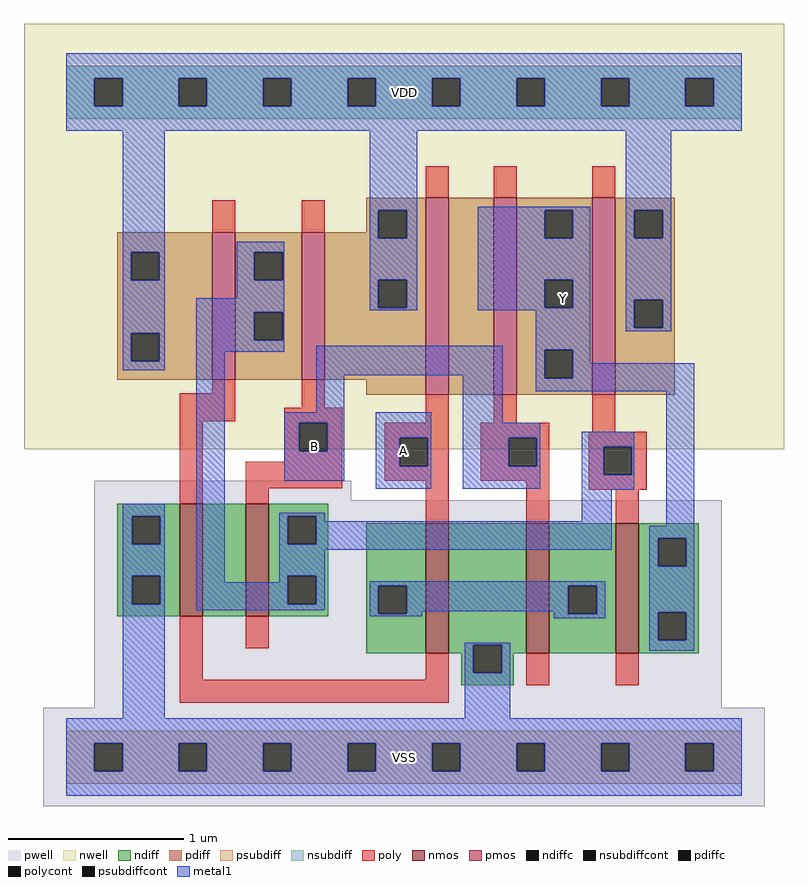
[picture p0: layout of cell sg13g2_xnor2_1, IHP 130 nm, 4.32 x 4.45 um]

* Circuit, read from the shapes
.subckt sg13g2_xnor2_1 Y B VDD A VSS
XM1 n1 A VSS VSS sg13_lv_nmos w=0.64u l=0.13u
XM2 n2 B n1 VSS sg13_lv_nmos w=0.64u l=0.13u
XM3 VSS A n3 VSS sg13_lv_nmos w=0.74u l=0.13u
XM4 n3 B VSS VSS sg13_lv_nmos w=0.74u l=0.13u
XM5 Y n2 n3 VSS sg13_lv_nmos w=0.74u l=0.13u
XM6 n2 A VDD VDD sg13_lv_pmos w=0.84u l=0.13u
XM7 VDD B n2 VDD sg13_lv_pmos w=0.84u l=0.13u
XM8 n4 A VDD VDD sg13_lv_pmos w=1.12u l=0.13u
XM9 Y B n4 VDD sg13_lv_pmos w=1.12u l=0.13u
XM10 VDD n2 Y VDD sg13_lv_pmos w=1.12u l=0.13u
.ends

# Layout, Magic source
magic
tech ihp-sg13g2
magscale 1 2
<< nwell >>
rect -48 350 816 834
<< pwell >>
rect 32 292 324 314
rect 32 56 745 292
rect -26 -56 794 56
<< nmos >>
rect 129 160 155 288
rect 204 160 230 288
rect 409 118 435 266
rect 523 118 549 266
rect 625 118 651 266
<< pmos >>
rect 166 429 192 597
rect 268 429 294 597
rect 409 412 435 636
rect 486 412 512 636
rect 598 412 624 636
<< ndiff >>
rect 58 274 129 288
rect 58 242 75 274
rect 107 242 129 274
rect 58 206 129 242
rect 58 174 75 206
rect 107 174 129 206
rect 58 160 129 174
rect 155 160 204 288
rect 230 274 298 288
rect 230 242 252 274
rect 284 242 298 274
rect 230 206 298 242
rect 230 174 252 206
rect 284 174 298 206
rect 230 160 298 174
rect 341 195 409 266
rect 341 163 355 195
rect 387 163 409 195
rect 341 118 409 163
rect 435 128 523 266
rect 435 118 463 128
rect 449 96 463 118
rect 495 118 523 128
rect 549 195 625 266
rect 549 163 571 195
rect 603 163 625 195
rect 549 118 625 163
rect 651 249 719 266
rect 651 217 673 249
rect 705 217 719 249
rect 651 165 719 217
rect 651 133 673 165
rect 705 133 719 165
rect 651 118 719 133
rect 495 96 509 118
rect 449 82 509 96
<< pdiff >>
rect 341 622 409 636
rect 341 597 355 622
rect 58 574 166 597
rect 58 542 74 574
rect 106 542 166 574
rect 58 482 166 542
rect 58 450 74 482
rect 106 450 166 482
rect 58 429 166 450
rect 192 574 268 597
rect 192 542 214 574
rect 246 542 268 574
rect 192 506 268 542
rect 192 474 214 506
rect 246 474 268 506
rect 192 429 268 474
rect 294 590 355 597
rect 387 590 409 622
rect 294 543 409 590
rect 294 511 355 543
rect 387 511 409 543
rect 294 429 409 511
rect 341 412 409 429
rect 435 412 486 636
rect 512 622 598 636
rect 512 590 544 622
rect 576 590 598 622
rect 512 543 598 590
rect 512 511 544 543
rect 576 511 598 543
rect 512 463 598 511
rect 512 431 544 463
rect 576 431 598 463
rect 512 412 598 431
rect 624 622 692 636
rect 624 590 646 622
rect 678 590 692 622
rect 624 520 692 590
rect 624 488 646 520
rect 678 488 692 520
rect 624 412 692 488
<< ndiffc >>
rect 75 242 107 274
rect 75 174 107 206
rect 252 242 284 274
rect 252 174 284 206
rect 355 163 387 195
rect 463 96 495 128
rect 571 163 603 195
rect 673 217 705 249
rect 673 133 705 165
<< pdiffc >>
rect 74 542 106 574
rect 74 450 106 482
rect 214 542 246 574
rect 214 474 246 506
rect 355 590 387 622
rect 355 511 387 543
rect 544 590 576 622
rect 544 511 576 543
rect 544 431 576 463
rect 646 590 678 622
rect 646 488 678 520
<< psubdiff >>
rect 0 16 768 30
rect 0 -16 32 16
rect 64 -16 128 16
rect 160 -16 224 16
rect 256 -16 320 16
rect 352 -16 416 16
rect 448 -16 512 16
rect 544 -16 608 16
rect 640 -16 704 16
rect 736 -16 768 16
rect 0 -30 768 -16
<< nsubdiff >>
rect 0 772 768 786
rect 0 740 32 772
rect 64 740 128 772
rect 160 740 224 772
rect 256 740 320 772
rect 352 740 416 772
rect 448 740 512 772
rect 544 740 608 772
rect 640 740 704 772
rect 736 740 768 772
rect 0 726 768 740
<< psubdiffcont >>
rect 32 -16 64 16
rect 128 -16 160 16
rect 224 -16 256 16
rect 320 -16 352 16
rect 416 -16 448 16
rect 512 -16 544 16
rect 608 -16 640 16
rect 704 -16 736 16
<< nsubdiffcont >>
rect 32 740 64 772
rect 128 740 160 772
rect 224 740 256 772
rect 320 740 352 772
rect 416 740 448 772
rect 512 740 544 772
rect 608 740 640 772
rect 704 740 736 772
<< poly >>
rect 409 636 435 672
rect 486 636 512 672
rect 598 636 624 672
rect 166 597 192 633
rect 268 597 294 633
rect 166 414 192 429
rect 129 382 192 414
rect 268 397 294 429
rect 129 288 155 382
rect 248 380 314 397
rect 409 380 435 412
rect 486 380 512 412
rect 248 348 265 380
rect 297 348 314 380
rect 248 336 314 348
rect 204 306 314 336
rect 362 363 435 380
rect 362 331 379 363
rect 411 331 435 363
rect 362 314 435 331
rect 471 363 549 380
rect 598 370 624 412
rect 471 331 503 363
rect 535 331 549 363
rect 471 314 549 331
rect 204 288 230 306
rect 409 266 435 314
rect 523 266 549 314
rect 594 353 660 370
rect 594 321 611 353
rect 643 321 660 353
rect 594 304 660 321
rect 625 266 651 304
rect 129 88 155 160
rect 204 124 230 160
rect 409 88 435 118
rect 129 62 435 88
rect 523 82 549 118
rect 625 82 651 118
<< polycont >>
rect 265 348 297 380
rect 379 331 411 363
rect 503 331 535 363
rect 611 321 643 353
<< metal1 >>
rect 0 772 768 800
rect 0 740 32 772
rect 64 740 128 772
rect 160 740 224 772
rect 256 740 320 772
rect 352 740 416 772
rect 448 740 512 772
rect 544 740 608 772
rect 640 740 704 772
rect 736 740 768 772
rect 0 712 768 740
rect 64 574 112 712
rect 345 622 399 712
rect 345 590 355 622
rect 387 590 399 622
rect 64 542 74 574
rect 106 542 112 574
rect 64 482 112 542
rect 194 574 248 586
rect 194 542 214 574
rect 246 542 248 574
rect 194 522 248 542
rect 64 450 74 482
rect 106 450 112 482
rect 64 440 112 450
rect 148 506 248 522
rect 345 543 399 590
rect 345 511 355 543
rect 387 511 399 543
rect 345 508 399 511
rect 468 622 596 626
rect 468 590 544 622
rect 576 590 596 622
rect 468 543 596 590
rect 468 511 544 543
rect 576 511 596 543
rect 468 508 596 511
rect 148 474 214 506
rect 246 474 248 506
rect 148 461 248 474
rect 64 274 112 288
rect 64 242 75 274
rect 107 242 112 274
rect 64 206 112 242
rect 64 174 75 206
rect 107 174 112 206
rect 64 44 112 174
rect 148 199 180 461
rect 284 434 496 468
rect 284 392 316 434
rect 248 380 316 392
rect 248 348 265 380
rect 297 348 316 380
rect 248 314 316 348
rect 352 363 415 392
rect 352 331 379 363
rect 411 331 415 363
rect 352 305 415 331
rect 451 380 496 434
rect 534 463 596 508
rect 636 622 688 712
rect 636 590 646 622
rect 678 590 688 622
rect 636 520 688 590
rect 636 488 646 520
rect 678 488 688 520
rect 636 484 688 488
rect 534 431 544 463
rect 576 448 596 463
rect 576 431 714 448
rect 534 416 714 431
rect 451 363 539 380
rect 451 331 503 363
rect 535 331 539 363
rect 451 305 539 331
rect 586 353 646 370
rect 586 321 611 353
rect 643 321 646 353
rect 586 304 646 321
rect 242 274 294 278
rect 242 242 252 274
rect 284 268 294 274
rect 586 268 620 304
rect 284 242 620 268
rect 682 263 714 416
rect 242 236 620 242
rect 663 249 714 263
rect 242 206 294 236
rect 242 199 252 206
rect 148 174 252 199
rect 284 174 294 206
rect 663 217 673 249
rect 705 217 714 249
rect 148 167 294 174
rect 345 195 613 200
rect 345 163 355 195
rect 387 166 571 195
rect 387 163 405 166
rect 345 160 405 163
rect 554 163 571 166
rect 603 163 613 195
rect 554 158 613 163
rect 663 165 714 217
rect 663 133 673 165
rect 705 133 714 165
rect 453 128 505 130
rect 453 96 463 128
rect 495 96 505 128
rect 663 121 714 133
rect 453 44 505 96
rect 0 16 768 44
rect 0 -16 32 16
rect 64 -16 128 16
rect 160 -16 224 16
rect 256 -16 320 16
rect 352 -16 416 16
rect 448 -16 512 16
rect 544 -16 608 16
rect 640 -16 704 16
rect 736 -16 768 16
rect 0 -44 768 -16
<< labels >>
flabel metal1 s 534 416 596 626 0 FreeSans 400 0 0 0 Y
port 2 nsew
flabel metal1 s 248 314 316 392 0 FreeSans 400 0 0 0 B
port 3 nsew
flabel metal1 s 0 712 768 800 0 FreeSans 400 0 0 0 VDD
port 4 nsew
flabel metal1 s 352 305 415 392 0 FreeSans 400 0 0 0 A
port 5 nsew
flabel metal1 s 0 -44 768 44 0 FreeSans 400 0 0 0 VSS
port 6 nsew
<< properties >>
string FIXED_BBOX 0 0 768 756
string GDS_END 80076
string GDS_FILE ../gds/controller.gds
string GDS_START 73766
<< end >>
